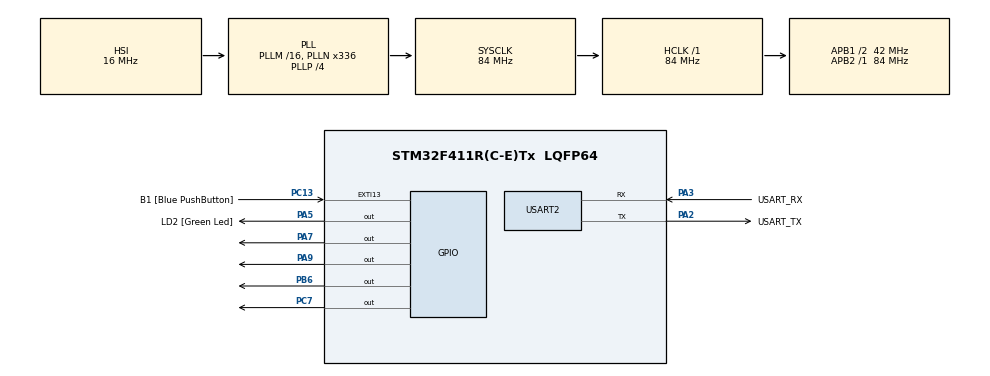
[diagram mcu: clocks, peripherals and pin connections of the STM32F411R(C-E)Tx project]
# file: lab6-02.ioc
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FREERTOS.Tasks01=defaultTask,24,128,StartDefaultTask,Default,NULL,Dynamic,NULL,NULL
FREERTOS.Timers01=myTimer01,Callback01,osTimerPeriodic,Default,NULL,Dynamic,NULL;myTimer02,Callback02,osTimerPeriodic,Default,NULL,Dynamic,NULL;myTimer03,Callback03,osTimerPeriodic,Default,NULL,Dynamic,NULL;myTimer04,Callback04,osTimerPeriodic,Default,NULL,Dynamic,NULL
FREERTOS.configUSE_TIMERS=1
Mcu.Family=STM32F4
Mcu.Name=STM32F411R(C-E)Tx
Mcu.Package=LQFP64
NVIC.PriorityGroup=NVIC_PRIORITYGROUP_4
PA13.GPIO_Label=TMS
PA13.Mode=Serial_Wire
PA13.Signal=SYS_JTMS-SWDIO
PA14.GPIO_Label=TCK
PA14.Mode=Serial_Wire
PA14.Signal=SYS_JTCK-SWCLK
PA2.GPIO_Label=USART_TX
PA2.Mode=Asynchronous
PA2.Signal=USART2_TX
PA3.GPIO_Label=USART_RX
PA3.Mode=Asynchronous
PA3.Signal=USART2_RX
PA5.GPIO_Label=LD2 [Green Led]
PA5.Signal=GPIO_Output
PA7.Signal=GPIO_Output
PA9.Signal=GPIO_Output
PB3.GPIO_Label=SWO
PB3.Signal=SYS_JTDO-SWO
PB6.Signal=GPIO_Output
PC13-ANTI_TAMP.GPIO_Label=B1 [Blue PushButton]
PC13-ANTI_TAMP.GPIO_ModeDefaultEXTI=GPIO_MODE_IT_FALLING
PC13-ANTI_TAMP.Signal=GPXTI13
PC14-OSC32_IN.Mode=LSE-External-Oscillator
PC14-OSC32_IN.Signal=RCC_OSC32_IN
PC15-OSC32_OUT.Mode=LSE-External-Oscillator
PC15-OSC32_OUT.Signal=RCC_OSC32_OUT
PC7.Signal=GPIO_Output
PH0\ -\ OSC_IN.Mode=HSE-External-Clock-Source
PH0\ -\ OSC_IN.Signal=RCC_OSC_IN
PH1\ -\ OSC_OUT.Mode=HSE-External-Clock-Source
PH1\ -\ OSC_OUT.Signal=RCC_OSC_OUT
ProjectManager.HeapSize=0x200
ProjectManager.StackSize=0x400
ProjectManager.TargetToolchain=STM32CubeIDE
RCC.48MHZClocksFreq_Value=84000000
RCC.AHBFreq_Value=84000000
RCC.APB1CLKDivider=RCC_HCLK_DIV2
RCC.APB1Freq_Value=42000000
RCC.APB1TimFreq_Value=84000000
RCC.APB2Freq_Value=84000000
RCC.APB2TimFreq_Value=84000000
RCC.CortexFreq_Value=84000000
RCC.FLatency-AdvancedSettings=FLASH_LATENCY_2
RCC.HCLKFreq_Value=84000000
RCC.HSE_VALUE=8000000
RCC.HSI_VALUE=16000000
RCC.PLLN=336
RCC.PLLP=RCC_PLLP_DIV4
RCC.SYSCLKFreq_VALUE=84000000
RCC.SYSCLKSource=RCC_SYSCLKSOURCE_PLLCLK
RCC.VCOOutputFreq_Value=336000000
USART2.VirtualMode=VM_ASYNC
VP_FREERTOS_VS_CMSIS_V2.Mode=CMSIS_V2
board=NUCLEO-F411RE

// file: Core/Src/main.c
/* USER CODE BEGIN Header */
/**
  ******************************************************************************
  * @file           : main.c
  * @brief          : Main program body
  ******************************************************************************
  * @attention
  *
  * Copyright (c) 2024 STMicroelectronics.
  * All rights reserved.
  *
  * This software is licensed under terms that can be found in the LICENSE file
  * in the root directory of this software component.
  * If no LICENSE file comes with this software, it is provided AS-IS.
  *
  ******************************************************************************
  */
/* USER CODE END Header */
#include "main.h"
#include "cmsis_os.h"

UART_HandleTypeDef huart2;

/* Definitions for defaultTask */
osThreadId_t defaultTaskHandle;
const osThreadAttr_t defaultTask_attributes = {
  .name = "defaultTask",
  .stack_size = 128 * 4,
  .priority = (osPriority_t) osPriorityNormal,
};
/* Definitions for myTimer01 */
osTimerId_t myTimer01Handle;
const osTimerAttr_t myTimer01_attributes = {
  .name = "myTimer01"
};
/* Definitions for myTimer02 */
osTimerId_t myTimer02Handle;
const osTimerAttr_t myTimer02_attributes = {
  .name = "myTimer02"
};
/* Definitions for myTimer03 */
osTimerId_t myTimer03Handle;
const osTimerAttr_t myTimer03_attributes = {
  .name = "myTimer03"
};
/* Definitions for myTimer04 */
osTimerId_t myTimer04Handle;
const osTimerAttr_t myTimer04_attributes = {
  .name = "myTimer04"
};

void SystemClock_Config(void);
static void MX_GPIO_Init(void);
static void MX_USART2_UART_Init(void);
void StartDefaultTask(void *argument);
void Callback01(void *argument);
void Callback02(void *argument);
void Callback03(void *argument);
void Callback04(void *argument);

/* USER CODE BEGIN 0 */
typedef struct {
	  GPIO_TypeDef* gpiox;
	  uint16_t gpio_pin;
} LEDArgument;

const LEDArgument arguments[4] = {
		  {GPIOA, GPIO_PIN_9},
		  {GPIOC, GPIO_PIN_7},
		  {GPIOB, GPIO_PIN_6},
		  {GPIOA, GPIO_PIN_7}
};

void DoLedToggle(void const* argument) {
	LEDArgument* arg = (LEDArgument*)argument;

    HAL_GPIO_TogglePin(arg->gpiox, arg->gpio_pin);
}

/* USER CODE END 0 */

int main(void)
{

  /* MCU Configuration--------------------------------------------------------*/

  /* Reset of all peripherals, Initializes the Flash interface and the Systick. */
  HAL_Init();

  /* Configure the system clock */
  SystemClock_Config();

  /* Initialize all configured peripherals */
  MX_GPIO_Init();
  MX_USART2_UART_Init();

  /* Init scheduler */
  osKernelInitialize();

  /* Create the timer(s) */
  /* creation of myTimer01 */
  myTimer01Handle = osTimerNew(Callback01, osTimerPeriodic, NULL, &myTimer01_attributes);

  /* creation of myTimer02 */
  myTimer02Handle = osTimerNew(Callback02, osTimerPeriodic, NULL, &myTimer02_attributes);

  /* creation of myTimer03 */
  myTimer03Handle = osTimerNew(Callback03, osTimerPeriodic, NULL, &myTimer03_attributes);

  /* creation of myTimer04 */
  myTimer04Handle = osTimerNew(Callback04, osTimerPeriodic, NULL, &myTimer04_attributes);

  /* USER CODE BEGIN RTOS_TIMERS */
  /* start timers, add new ones, ... */
  osTimerStart(myTimer01Handle, 25);
  osTimerStart(myTimer02Handle, 9);
  osTimerStart(myTimer03Handle, 64);
  osTimerStart(myTimer04Handle, 32);
  /* USER CODE END RTOS_TIMERS */

  /* Create the thread(s) */
  /* creation of defaultTask */
  defaultTaskHandle = osThreadNew(StartDefaultTask, NULL, &defaultTask_attributes);

  /* Start scheduler */
  osKernelStart();

  /* We should never get here as control is now taken by the scheduler */
  /* Infinite loop */
  /* USER CODE BEGIN WHILE */
  while (1)
  {
	  osDelay(osWaitForever);
    /* USER CODE END WHILE */

  }
}

void SystemClock_Config(void)
{
  RCC_OscInitTypeDef RCC_OscInitStruct = {0};
  RCC_ClkInitTypeDef RCC_ClkInitStruct = {0};

  /** Configure the main internal regulator output voltage
  */
  __HAL_RCC_PWR_CLK_ENABLE();
  __HAL_PWR_VOLTAGESCALING_CONFIG(PWR_REGULATOR_VOLTAGE_SCALE1);

  /** Initializes the RCC Oscillators according to the specified parameters
  * in the RCC_OscInitTypeDef structure.
  */
  RCC_OscInitStruct.OscillatorType = RCC_OSCILLATORTYPE_HSI;
  RCC_OscInitStruct.HSIState = RCC_HSI_ON;
  RCC_OscInitStruct.HSICalibrationValue = RCC_HSICALIBRATION_DEFAULT;
  RCC_OscInitStruct.PLL.PLLState = RCC_PLL_ON;
  RCC_OscInitStruct.PLL.PLLSource = RCC_PLLSOURCE_HSI;
  RCC_OscInitStruct.PLL.PLLM = 16;
  RCC_OscInitStruct.PLL.PLLN = 336;
  RCC_OscInitStruct.PLL.PLLP = RCC_PLLP_DIV4;
  RCC_OscInitStruct.PLL.PLLQ = 4;
  if (HAL_RCC_OscConfig(&RCC_OscInitStruct) != HAL_OK)
  {
    Error_Handler();
  }

  /** Initializes the CPU, AHB and APB buses clocks
  */
  RCC_ClkInitStruct.ClockType = RCC_CLOCKTYPE_HCLK|RCC_CLOCKTYPE_SYSCLK
                              |RCC_CLOCKTYPE_PCLK1|RCC_CLOCKTYPE_PCLK2;
  RCC_ClkInitStruct.SYSCLKSource = RCC_SYSCLKSOURCE_PLLCLK;
  RCC_ClkInitStruct.AHBCLKDivider = RCC_SYSCLK_DIV1;
  RCC_ClkInitStruct.APB1CLKDivider = RCC_HCLK_DIV2;
  RCC_ClkInitStruct.APB2CLKDivider = RCC_HCLK_DIV1;

  if (HAL_RCC_ClockConfig(&RCC_ClkInitStruct, FLASH_LATENCY_2) != HAL_OK)
  {
    Error_Handler();
  }
}

static void MX_USART2_UART_Init(void)
{

  huart2.Instance = USART2;
  huart2.Init.BaudRate = 115200;
  huart2.Init.WordLength = UART_WORDLENGTH_8B;
  huart2.Init.StopBits = UART_STOPBITS_1;
  huart2.Init.Parity = UART_PARITY_NONE;
  huart2.Init.Mode = UART_MODE_TX_RX;
  huart2.Init.HwFlowCtl = UART_HWCONTROL_NONE;
  huart2.Init.OverSampling = UART_OVERSAMPLING_16;
  if (HAL_UART_Init(&huart2) != HAL_OK)
  {
    Error_Handler();
  }

}

static void MX_GPIO_Init(void)
{
  GPIO_InitTypeDef GPIO_InitStruct = {0};

  /* GPIO Ports Clock Enable */
  __HAL_RCC_GPIOC_CLK_ENABLE();
  __HAL_RCC_GPIOH_CLK_ENABLE();
  __HAL_RCC_GPIOA_CLK_ENABLE();
  __HAL_RCC_GPIOB_CLK_ENABLE();

  /*Configure GPIO pin Output Level */
  HAL_GPIO_WritePin(GPIOA, LD2_Pin|GPIO_PIN_7|GPIO_PIN_9, GPIO_PIN_RESET);

  /*Configure GPIO pin Output Level */
  HAL_GPIO_WritePin(GPIOC, GPIO_PIN_7, GPIO_PIN_RESET);

  /*Configure GPIO pin Output Level */
  HAL_GPIO_WritePin(GPIOB, GPIO_PIN_6, GPIO_PIN_RESET);

  /*Configure GPIO pin : B1_Pin */
  GPIO_InitStruct.Pin = B1_Pin;
  GPIO_InitStruct.Mode = GPIO_MODE_IT_FALLING;
  GPIO_InitStruct.Pull = GPIO_NOPULL;
  HAL_GPIO_Init(B1_GPIO_Port, &GPIO_InitStruct);

  /*Configure GPIO pins : LD2_Pin PA7 PA9 */
  GPIO_InitStruct.Pin = LD2_Pin|GPIO_PIN_7|GPIO_PIN_9;
  GPIO_InitStruct.Mode = GPIO_MODE_OUTPUT_PP;
  GPIO_InitStruct.Pull = GPIO_NOPULL;
  GPIO_InitStruct.Speed = GPIO_SPEED_FREQ_LOW;
  HAL_GPIO_Init(GPIOA, &GPIO_InitStruct);

  /*Configure GPIO pin : PC7 */
  GPIO_InitStruct.Pin = GPIO_PIN_7;
  GPIO_InitStruct.Mode = GPIO_MODE_OUTPUT_PP;
  GPIO_InitStruct.Pull = GPIO_NOPULL;
  GPIO_InitStruct.Speed = GPIO_SPEED_FREQ_LOW;
  HAL_GPIO_Init(GPIOC, &GPIO_InitStruct);

  /*Configure GPIO pin : PB6 */
  GPIO_InitStruct.Pin = GPIO_PIN_6;
  GPIO_InitStruct.Mode = GPIO_MODE_OUTPUT_PP;
  GPIO_InitStruct.Pull = GPIO_NOPULL;
  GPIO_InitStruct.Speed = GPIO_SPEED_FREQ_LOW;
  HAL_GPIO_Init(GPIOB, &GPIO_InitStruct);

}

void StartDefaultTask(void *argument)
{
  for(;;)
  {
    osDelay(1);
  }
}

/* Callback01 function */
void Callback01(void *argument)
{
  /* USER CODE BEGIN Callback01 */
	DoLedToggle((void *)(arguments + 0));
  /* USER CODE END Callback01 */
}

/* Callback02 function */
void Callback02(void *argument)
{
  /* USER CODE BEGIN Callback02 */
	DoLedToggle((void *)(arguments + 1));
  /* USER CODE END Callback02 */
}

/* Callback03 function */
void Callback03(void *argument)
{
  /* USER CODE BEGIN Callback03 */
	DoLedToggle((void *)(arguments + 2));
  /* USER CODE END Callback03 */
}

/* Callback04 function */
void Callback04(void *argument)
{
  /* USER CODE BEGIN Callback04 */
	DoLedToggle((void *)(arguments + 3));
  /* USER CODE END Callback04 */
}

void Error_Handler(void)
{
  __disable_irq();
  while (1)
  {
  }
}
